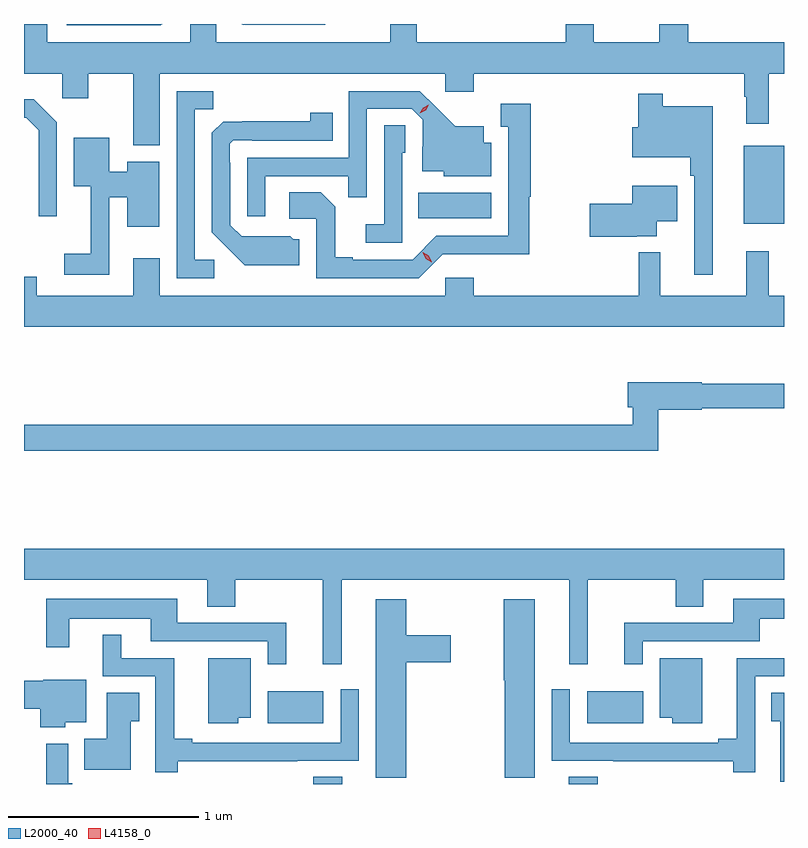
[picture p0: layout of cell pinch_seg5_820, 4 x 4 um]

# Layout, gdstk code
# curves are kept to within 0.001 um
import gdstk
lib = gdstk.Library(unit=1e-6, precision=1e-09)
def R(c, l, rs):  # rectangles x0, y0, x1, y1
    for r in rs: c.add(gdstk.rectangle(r[:2], r[2:], *l))
def P(c, l, *ps):  # polygons
    for p in ps: c.add(gdstk.Polygon(p, *l))
L2000_40 = (2000, 40)
L4158_0 = (4158, 0)

pinch_seg5_820 = lib.new_cell('pinch_seg5_820')
R(pinch_seg5_820, L2000_40, [(767.738,873.001,767.89,873.038), (769.082,873.001,769.235,873.038), (767.498,873.32,767.791,873.49), (769.181,873.32,769.474,873.49), (770.003,875.951,770.216,876.361), (768.292,875.978,768.676,876.112)])
P(pinch_seg5_820, L2000_40, [(766.93,876.74),(768.432,876.74),(768.432,876.645),(768.584,876.645),(768.584,876.74),(770.007,876.74),(770.007,876.617),(770.018,876.617),(770.018,876.477),(770.135,876.477),(770.135,876.74),(770.216,876.74),(770.216,876.904),(769.712,876.904),(769.712,877.001),(769.559,877.001),(769.559,876.904),(769.215,876.904),(769.215,877.001),(769.067,877.001),(769.067,876.904),(768.283,876.904),(768.283,877.001),(768.143,877.001),(768.143,876.904),(767.229,876.904),(767.229,877.001),(767.091,877.001),(767.091,876.904),(766.339,876.904),(766.339,877.001),(766.216,877.001),(766.216,876.74),(766.416,876.74),(766.416,876.609),(766.555,876.609),(766.555,876.74),(766.79,876.74),(766.79,876.362),(766.93,876.362)],
  [(768.881,877.001),(768.579,877.001),(768.579,876.999),(768.879,876.999)],
  [(767.802,877.001),(767.362,877.001),(767.367,876.996),(767.802,876.996)],
  [(766.943,877.001),(766.44,877.001),(766.44,876.995),(766.937,876.995)],
  [(767.218,875.76),(767.115,875.76),(767.115,876.553),(767.211,876.553),(767.211,876.648),(767.019,876.648),(767.019,875.664),(767.218,875.664)],
  [(767.487,876.201),(767.923,876.201),(767.923,876.088),(768.021,876.088),(768.021,876.555),(768.258,876.555),(768.315,876.498),(768.315,876.356),(768.311,876.356),(768.311,876.227),(768.426,876.227),(768.426,876.2),(768.676,876.2),(768.676,876.376),(768.637,876.376),(768.637,876.463),(768.485,876.463),(768.298,876.648),(767.925,876.648),(767.925,876.297),(767.391,876.297),(767.391,875.988),(767.487,875.988)],
  [(769.84,876.568),(769.579,876.568),(769.579,876.634),(769.45,876.634),(769.45,876.457),(769.416,876.457),(769.416,876.299),(769.723,876.299),(769.723,876.203),(769.743,876.203),(769.743,875.682),(769.84,875.682)],
  [(766.389,876.483),(766.268,876.604),(766.216,876.604),(766.216,876.507),(766.227,876.507),(766.293,876.441),(766.293,875.988),(766.389,875.988)],
  [(768.42,875.79),(768.875,875.789),(768.875,876.093),(768.883,876.093),(768.883,876.58),(768.725,876.58),(768.725,876.459),(768.764,876.459),(768.764,875.886),(768.387,875.886),(768.261,875.76),(767.947,875.76),(767.947,875.773),(767.853,875.773),(767.853,876.04),(767.777,876.116),(767.613,876.116),(767.613,875.976),(767.754,875.976),(767.754,875.664),(768.294,875.664)],
  [(767.665,875.868),(767.634,875.868),(767.618,875.884),(767.361,875.883),(767.301,875.943),(767.301,876.272),(767.298,876.272),(767.298,876.372),(767.316,876.39),(767.416,876.39),(767.416,876.387),(767.84,876.387),(767.84,876.535),(767.722,876.535),(767.722,876.488),(767.264,876.487),(767.205,876.428),(767.205,875.906),(767.377,875.732),(767.665,875.732)],
  [(768.207,876.324),(768.222,876.324),(768.222,876.467),(768.111,876.467),(768.111,875.947),(768.015,875.947),(768.015,875.85),(768.207,875.85)],
  [(766.665,876.088),(766.76,876.088),(766.76,875.934),(766.927,875.934),(766.927,876.277),(766.76,876.277),(766.76,876.224),(766.665,876.224),(766.665,876.403),(766.478,876.403),(766.478,876.146),(766.568,876.146),(766.568,875.791),(766.428,875.791),(766.428,875.682),(766.665,875.682)],
  [(769.442,875.885),(769.546,875.885),(769.546,875.963),(769.654,875.963),(769.654,876.151),(769.418,876.151),(769.418,876.056),(769.194,876.056),(769.194,875.88),(769.442,875.88)],
  [(769.452,875.8),(769.452,875.572),(768.584,875.572),(768.584,875.665),(768.432,875.665),(768.432,875.572),(766.93,875.572),(766.93,875.767),(766.79,875.767),(766.79,875.572),(766.282,875.572),(766.282,875.67),(766.216,875.67),(766.216,875.408),(770.216,875.408),(770.216,875.572),(770.135,875.572),(770.135,875.806),(770.018,875.806),(770.018,875.572),(769.565,875.572),(769.565,875.8)],
  [(769.553,874.97),(769.782,874.97),(769.782,874.978),(770.216,874.978),(770.216,875.107),(769.782,875.107),(769.782,875.115),(769.394,875.115),(769.394,874.985),(769.421,874.985),(769.421,874.892),(766.216,874.892),(766.216,874.756),(769.553,874.756)],
  [(767.888,874.076),(769.085,874.076),(769.085,873.63),(769.184,873.63),(769.184,874.076),(769.645,874.076),(769.645,873.934),(769.792,873.934),(769.792,874.076),(770.216,874.076),(770.216,874.24),(766.216,874.24),(766.216,874.076),(767.18,874.076),(767.18,873.934),(767.328,873.934),(767.328,874.076),(767.789,874.076),(767.789,873.63),(767.888,873.63)],
  [(767.597,873.849),(767.023,873.849),(767.023,873.976),(766.332,873.976),(766.332,873.72),(766.453,873.72),(766.453,873.872),(766.883,873.872),(766.883,873.753),(767.499,873.753),(767.499,873.63),(767.597,873.63)],
  [(769.473,873.753),(770.089,873.753),(770.089,873.872),(770.216,873.872),(770.216,873.976),(769.949,873.976),(769.949,873.849),(769.376,873.849),(769.376,873.63),(769.473,873.63)],
  [(768.227,873.641),(768.463,873.641),(768.463,873.783),(768.227,873.783),(768.227,873.973),(768.068,873.973),(768.068,873.033),(768.227,873.033)],
  [(768.904,873.973),(768.74,873.973),(768.74,873.546),(768.746,873.546),(768.746,873.033),(768.904,873.033)],
  [(767.024,873.122),(767.654,873.122),(767.654,873.123),(767.979,873.123),(767.979,873.499),(767.883,873.499),(767.883,873.219),(767.101,873.219),(767.101,873.239),(767.006,873.239),(767.006,873.663),(766.729,873.663),(766.729,873.787),(766.631,873.787),(766.631,873.567),(766.908,873.567),(766.908,873.063),(767.024,873.063)],
  [(767.344,873.35),(767.41,873.35),(767.41,873.664),(767.186,873.664),(767.186,873.32),(767.344,873.32)],
  [(769.786,873.664),(769.562,873.664),(769.562,873.35),(769.628,873.35),(769.628,873.32),(769.786,873.32)],
  [(770.064,873.567),(770.216,873.567),(770.216,873.663),(769.967,873.663),(769.967,873.239),(769.871,873.239),(769.871,873.219),(769.089,873.219),(769.089,873.499),(768.993,873.499),(768.993,873.123),(769.318,873.123),(769.318,873.122),(769.948,873.122),(769.948,873.063),(770.064,873.063)],
  [(766.434,873.326),(766.543,873.326),(766.543,873.55),(766.317,873.55),(766.317,873.545),(766.216,873.545),(766.216,873.398),(766.301,873.398),(766.301,873.299),(766.434,873.299)],
  [(766.777,873.331),(766.823,873.331),(766.823,873.482),(766.652,873.482),(766.652,873.238),(766.534,873.238),(766.534,873.077),(766.777,873.077)],
  [(770.216,873.482),(770.149,873.482),(770.149,873.331),(770.195,873.331),(770.195,873.012),(770.216,873.012)],
  [(766.469,873.004),(766.449,873.004),(766.449,873.214),(766.333,873.214),(766.333,873.001),(766.469,873.001)])
P(pinch_seg5_820, L4158_0, [(768.362,875.747),(768.331,875.766),(768.314,875.799),(768.314,875.799),(768.314,875.799),(768.345,875.78),(768.363,875.748),(768.363,875.747)],
  [(768.299,876.53),(768.299,876.531),(768.316,876.56),(768.347,876.576),(768.347,876.576),(768.347,876.575),(768.33,876.546),(768.299,876.53)])

lib.write_gds('pinch_seg5_820.gds')
